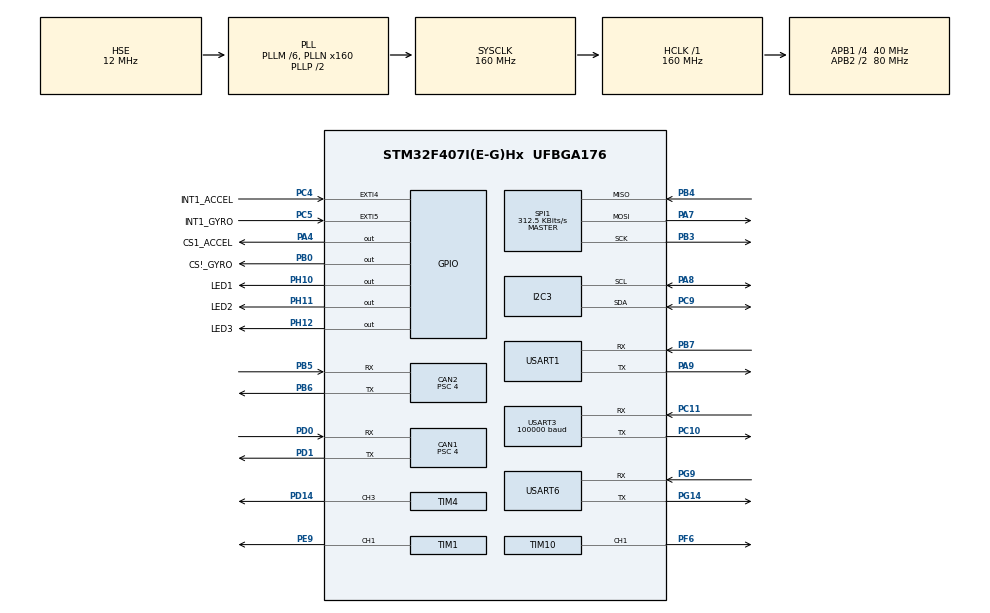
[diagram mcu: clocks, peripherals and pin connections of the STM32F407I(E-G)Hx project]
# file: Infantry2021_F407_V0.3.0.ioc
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CAN1.BS1=CAN_BS1_6TQ
CAN1.BS2=CAN_BS2_3TQ
CAN1.CalculateBaudRate=1000000
CAN1.CalculateTimeBit=1000.00
CAN1.CalculateTimeQuantum=100.0
CAN1.Prescaler=4
CAN1.SJW=CAN_SJW_2TQ
CAN2.BS1=CAN_BS1_6TQ
CAN2.BS2=CAN_BS2_3TQ
CAN2.CalculateBaudRate=1000000
CAN2.CalculateTimeBit=1000.00
CAN2.CalculateTimeQuantum=100.0
CAN2.Prescaler=4
CAN2.SJW=CAN_SJW_2TQ
Dma.Request0=USART3_RX
Dma.Request1=USART6_RX
Dma.Request2=USART6_TX
Dma.USART3_RX.0.Direction=DMA_PERIPH_TO_MEMORY
Dma.USART3_RX.0.FIFOMode=DMA_FIFOMODE_DISABLE
Dma.USART3_RX.0.Instance=DMA1_Stream1
Dma.USART3_RX.0.MemDataAlignment=DMA_MDATAALIGN_BYTE
Dma.USART3_RX.0.MemInc=DMA_MINC_ENABLE
Dma.USART3_RX.0.Mode=DMA_NORMAL
Dma.USART3_RX.0.PeriphDataAlignment=DMA_PDATAALIGN_BYTE
Dma.USART3_RX.0.PeriphInc=DMA_PINC_DISABLE
Dma.USART3_RX.0.Priority=DMA_PRIORITY_VERY_HIGH
Dma.USART6_RX.1.Direction=DMA_PERIPH_TO_MEMORY
Dma.USART6_RX.1.FIFOMode=DMA_FIFOMODE_DISABLE
Dma.USART6_RX.1.Instance=DMA2_Stream1
Dma.USART6_RX.1.MemDataAlignment=DMA_MDATAALIGN_BYTE
Dma.USART6_RX.1.MemInc=DMA_MINC_ENABLE
Dma.USART6_RX.1.Mode=DMA_NORMAL
Dma.USART6_RX.1.PeriphDataAlignment=DMA_PDATAALIGN_BYTE
Dma.USART6_RX.1.PeriphInc=DMA_PINC_DISABLE
Dma.USART6_RX.1.Priority=DMA_PRIORITY_HIGH
Dma.USART6_TX.2.Direction=DMA_MEMORY_TO_PERIPH
Dma.USART6_TX.2.FIFOMode=DMA_FIFOMODE_DISABLE
Dma.USART6_TX.2.Instance=DMA2_Stream6
Dma.USART6_TX.2.MemDataAlignment=DMA_MDATAALIGN_BYTE
Dma.USART6_TX.2.MemInc=DMA_MINC_ENABLE
Dma.USART6_TX.2.Mode=DMA_NORMAL
Dma.USART6_TX.2.PeriphDataAlignment=DMA_PDATAALIGN_BYTE
Dma.USART6_TX.2.PeriphInc=DMA_PINC_DISABLE
Dma.USART6_TX.2.Priority=DMA_PRIORITY_MEDIUM
FREERTOS.Tasks01=defaultTask,24,128,StartDefaultTask,Default,NULL,Dynamic,NULL,NULL;ImuTask,24,128,StartImuTask,Default,NULL,Dynamic,NULL,NULL;ShootTask,24,128,StartShootTask,Default,NULL,Dynamic,NULL,NULL;ChassisTask,24,128,StartChassisTask,Default,NULL,Dynamic,NULL,NULL;GimbalTask,41,128,StartGimbalTask,Default,NULL,Dynamic,NULL,NULL;RobotCMDTask,40,128,StartRobotCMDTask,Default,NULL,Dynamic,NULL,NULL;RefereeTask,24,128,StartRefereeTask,Default,NULL,Dynamic,NULL,NULL
FREERTOS.Timers01=LED_Timer,LedTimer,osTimerPeriodic,Default,NULL,Dynamic,NULL;Supervise_Timer,SuperviseTimer,osTimerPeriodic,Default,NULL,Dynamic,NULL
I2C3.I2C_Mode=I2C_Fast
Mcu.Family=STM32F4
Mcu.Name=STM32F407I(E-G)Hx
Mcu.Package=UFBGA176
NVIC.CAN1_RX0_IRQn=true\:5\:0\:false\:false\:true\:true\:true\:true
NVIC.CAN1_RX1_IRQn=true\:5\:0\:false\:false\:true\:true\:true\:true
NVIC.CAN2_RX0_IRQn=true\:5\:0\:false\:false\:true\:true\:true\:true
NVIC.CAN2_RX1_IRQn=true\:5\:0\:false\:false\:true\:true\:true\:true
NVIC.DMA1_Stream1_IRQn=true\:5\:0\:false\:false\:true\:true\:false\:true
NVIC.DMA2_Stream1_IRQn=true\:5\:0\:false\:false\:true\:true\:false\:true
NVIC.DMA2_Stream6_IRQn=true\:5\:0\:false\:false\:true\:true\:false\:true
NVIC.I2C3_EV_IRQn=true\:5\:0\:false\:false\:true\:true\:true\:true
NVIC.PriorityGroup=NVIC_PRIORITYGROUP_4
NVIC.SPI1_IRQn=true\:5\:0\:false\:false\:true\:true\:true\:true
NVIC.TIM7_IRQn=true\:0\:0\:false\:false\:true\:false\:false\:true
NVIC.TimeBase=TIM7_IRQn
NVIC.TimeBaseIP=TIM7
NVIC.USART1_IRQn=true\:5\:0\:false\:false\:true\:true\:true\:true
NVIC.USART3_IRQn=true\:5\:0\:false\:false\:true\:true\:true\:true
NVIC.USART6_IRQn=true\:5\:0\:false\:false\:true\:true\:true\:true
PA13.Mode=Serial_Wire
PA13.Signal=SYS_JTMS-SWDIO
PA14.Mode=Serial_Wire
PA14.Signal=SYS_JTCK-SWCLK
PA4.GPIO_Label=CS1_ACCEL
PA4.GPIO_PuPd=GPIO_PULLUP
PA4.GPIO_Speed=GPIO_SPEED_FREQ_HIGH
PA4.PinState=GPIO_PIN_SET
PA4.Signal=GPIO_Output
PA7.Mode=Full_Duplex_Master
PA7.Signal=SPI1_MOSI
PA8.Mode=I2C
PA8.Signal=I2C3_SCL
PA9.Mode=Asynchronous
PA9.Signal=USART1_TX
PB0.GPIO_Label=CS\!_GYRO
PB0.GPIO_PuPd=GPIO_PULLUP
PB0.GPIO_Speed=GPIO_SPEED_FREQ_HIGH
PB0.PinState=GPIO_PIN_SET
PB0.Signal=GPIO_Output
PB3.Mode=Full_Duplex_Master
PB3.Signal=SPI1_SCK
PB4.Mode=Full_Duplex_Master
PB4.Signal=SPI1_MISO
PB5.Mode=CAN_Activate
PB5.Signal=CAN2_RX
PB6.Mode=CAN_Activate
PB6.Signal=CAN2_TX
PB7.Mode=Asynchronous
PB7.Signal=USART1_RX
PC10.Mode=Asynchronous
PC10.Signal=USART3_TX
PC11.Mode=Asynchronous
PC11.Signal=USART3_RX
PC4.GPIO_Label=INT1_ACCEL
PC4.GPIO_PuPd=GPIO_PULLUP
PC4.Signal=GPXTI4
PC5.GPIO_Label=INT1_GYRO
PC5.GPIO_PuPd=GPIO_PULLUP
PC5.Signal=GPXTI5
PC9.Mode=I2C
PC9.Signal=I2C3_SDA
PD0.Mode=CAN_Activate
PD0.Signal=CAN1_RX
PD1.Mode=CAN_Activate
PD1.Signal=CAN1_TX
PD14.Signal=S_TIM4_CH3
PE9.Signal=S_TIM1_CH1
PF6.Signal=S_TIM10_CH1
PG14.Mode=Asynchronous
PG14.Signal=USART6_TX
PG9.Mode=Asynchronous
PG9.Signal=USART6_RX
PH0-OSC_IN.Mode=HSE-External-Oscillator
PH0-OSC_IN.Signal=RCC_OSC_IN
PH1-OSC_OUT.Mode=HSE-External-Oscillator
PH1-OSC_OUT.Signal=RCC_OSC_OUT
PH10.GPIO_Label=LED1
PH10.Signal=GPIO_Output
PH11.GPIO_Label=LED2
PH11.Signal=GPIO_Output
PH12.GPIO_Label=LED3
PH12.Signal=GPIO_Output
ProjectManager.HeapSize=0x1500
ProjectManager.StackSize=0x2A00
ProjectManager.TargetToolchain=MDK-ARM V5.27
RCC.48MHZClocksFreq_Value=80000000
RCC.AHBFreq_Value=160000000
RCC.APB1CLKDivider=RCC_HCLK_DIV4
RCC.APB1Freq_Value=40000000
RCC.APB1TimFreq_Value=80000000
RCC.APB2CLKDivider=RCC_HCLK_DIV2
RCC.APB2Freq_Value=80000000
RCC.APB2TimFreq_Value=160000000
RCC.CortexFreq_Value=160000000
RCC.HCLKFreq_Value=160000000
RCC.HSE_VALUE=12000000
RCC.HSI_VALUE=16000000
RCC.LSE_VALUE=32768
RCC.PLLM=6
RCC.PLLN=160
RCC.PLLSourceVirtual=RCC_PLLSOURCE_HSE
RCC.SYSCLKFreq_VALUE=160000000
RCC.SYSCLKSource=RCC_SYSCLKSOURCE_PLLCLK
RCC.VCOOutputFreq_Value=320000000
SH.S_TIM10_CH1.0=TIM10_CH1,PWM Generation1 CH1
SH.S_TIM1_CH1.0=TIM1_CH1,PWM Generation1 CH1
SH.S_TIM4_CH3.0=TIM4_CH3,PWM Generation3 CH3
SPI1.BaudRatePrescaler=SPI_BAUDRATEPRESCALER_256
SPI1.CLKPhase=SPI_PHASE_2EDGE
SPI1.CLKPolarity=SPI_POLARITY_HIGH
SPI1.CalculateBaudRate=312.5 KBits/s
SPI1.Direction=SPI_DIRECTION_2LINES
SPI1.Mode=SPI_MODE_MASTER
SPI1.VirtualType=VM_MASTER
TIM1.Channel-PWM\ Generation1\ CH1=TIM_CHANNEL_1
TIM1.Period=20000-1
TIM1.Prescaler=160-1
TIM10.Channel=TIM_CHANNEL_1
TIM10.Period=1000-1
TIM10.Prescaler=160-1
TIM14.AutoReloadPreload=TIM_AUTORELOAD_PRELOAD_ENABLE
TIM14.Period=65535
TIM14.Prescaler=80-1
TIM4.Channel-PWM\ Generation3\ CH3=TIM_CHANNEL_3
TIM4.Period=65535
TIM4.Prescaler=80-1
USART1.VirtualMode=VM_ASYNC
USART3.BaudRate=100000
USART3.Parity=PARITY_EVEN
USART3.StopBits=STOPBITS_2
USART3.VirtualMode=VM_ASYNC
USART3.WordLength=WORDLENGTH_9B
USART6.VirtualMode=VM_ASYNC
VP_CRC_VS_CRC.Mode=CRC_Activate
VP_FREERTOS_VS_CMSIS_V2.Mode=CMSIS_V2
VP_SYS_VS_tim7.Mode=TIM7
VP_TIM10_VS_ClockSourceINT.Mode=Enable_Timer
VP_TIM14_VS_ClockSourceINT.Mode=Enable_Timer
board=custom

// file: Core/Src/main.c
/* USER CODE BEGIN Header */
/**
  ******************************************************************************
  * @file           : main.c
  * @brief          : Main program body
  ******************************************************************************
  * @attention
  *
  * <h2><center>&copy; Copyright (c) 2021 STMicroelectronics.
  * All rights reserved.</center></h2>
  *
  * This software component is licensed by ST under Ultimate Liberty license
  * SLA0044, the "License"; You may not use this file except in compliance with
  * the License. You may obtain a copy of the License at:
  *                             www.st.com/SLA0044
  *
  ******************************************************************************
  */
/* USER CODE END Header */
#include "main.h"
#include "cmsis_os.h"
#include "can.h"
#include "crc.h"
#include "dma.h"
#include "i2c.h"
#include "spi.h"
#include "tim.h"
#include "usart.h"
#include "gpio.h"

/* USER CODE BEGIN Includes */
#include "remote.h"
#include "AttitudeResolve.h"
#include "bsp_can.h"
#include "pc_communicate.h"
/* USER CODE END Includes */

/* USER CODE BEGIN PV */
extern struct IMU_t bmi088;
/* USER CODE END PV */

void SystemClock_Config(void);
void MX_FREERTOS_Init(void);

int main(void)
{

  /* MCU Configuration--------------------------------------------------------*/

  /* Reset of all peripherals, Initializes the Flash interface and the Systick. */
  HAL_Init();

  /* Configure the system clock */
  SystemClock_Config();

  /* Initialize all configured peripherals */
  MX_GPIO_Init();
  MX_DMA_Init();
  MX_CAN1_Init();
  MX_CAN2_Init();
  MX_TIM1_Init();
  MX_TIM4_Init();
  MX_TIM10_Init();
  MX_I2C3_Init();
  MX_SPI1_Init();
  MX_USART1_UART_Init();
  MX_USART3_UART_Init();
  MX_USART6_UART_Init();
  MX_CRC_Init();
  MX_TIM14_Init();
  /* USER CODE BEGIN 2 */
	Remote_init();
	IMU_init(&bmi088);
	CanFilterInit(&hcan1);
	CanFilterInit(&hcan2);
	TIM1->CCR1 = 1500;
	HAL_TIM_PWM_Start(&htim1, TIM_CHANNEL_1);
	HAL_TIM_PWM_Start(&htim4, TIM_CHANNEL_3);
	HAL_TIM_PWM_Start(&htim10, TIM_CHANNEL_1);
	HAL_GPIO_WritePin(GPIOH, GPIO_PIN_10, GPIO_PIN_RESET);
	HAL_GPIO_WritePin(GPIOH, GPIO_PIN_11, GPIO_PIN_RESET);
	HAL_GPIO_WritePin(GPIOH, GPIO_PIN_12, GPIO_PIN_RESET);
	PC_communicate_init();
  /* USER CODE END 2 */

  /* Init scheduler */
  osKernelInitialize();  /* Call init function for freertos objects (in freertos.c) */
  MX_FREERTOS_Init();
  /* Start scheduler */
  osKernelStart();

  /* We should never get here as control is now taken by the scheduler */
  /* Infinite loop */
  while (1)
  {

  }
}

void SystemClock_Config(void)
{
  RCC_OscInitTypeDef RCC_OscInitStruct = {0};
  RCC_ClkInitTypeDef RCC_ClkInitStruct = {0};

  /** Configure the main internal regulator output voltage
  */
  __HAL_RCC_PWR_CLK_ENABLE();
  __HAL_PWR_VOLTAGESCALING_CONFIG(PWR_REGULATOR_VOLTAGE_SCALE1);
  /** Initializes the RCC Oscillators according to the specified parameters
  * in the RCC_OscInitTypeDef structure.
  */
  RCC_OscInitStruct.OscillatorType = RCC_OSCILLATORTYPE_HSE;
  RCC_OscInitStruct.HSEState = RCC_HSE_ON;
  RCC_OscInitStruct.PLL.PLLState = RCC_PLL_ON;
  RCC_OscInitStruct.PLL.PLLSource = RCC_PLLSOURCE_HSE;
  RCC_OscInitStruct.PLL.PLLM = 6;
  RCC_OscInitStruct.PLL.PLLN = 160;
  RCC_OscInitStruct.PLL.PLLP = RCC_PLLP_DIV2;
  RCC_OscInitStruct.PLL.PLLQ = 4;
  if (HAL_RCC_OscConfig(&RCC_OscInitStruct) != HAL_OK)
  {
    Error_Handler();
  }
  /** Initializes the CPU, AHB and APB buses clocks
  */
  RCC_ClkInitStruct.ClockType = RCC_CLOCKTYPE_HCLK|RCC_CLOCKTYPE_SYSCLK
                              |RCC_CLOCKTYPE_PCLK1|RCC_CLOCKTYPE_PCLK2;
  RCC_ClkInitStruct.SYSCLKSource = RCC_SYSCLKSOURCE_PLLCLK;
  RCC_ClkInitStruct.AHBCLKDivider = RCC_SYSCLK_DIV1;
  RCC_ClkInitStruct.APB1CLKDivider = RCC_HCLK_DIV4;
  RCC_ClkInitStruct.APB2CLKDivider = RCC_HCLK_DIV2;

  if (HAL_RCC_ClockConfig(&RCC_ClkInitStruct, FLASH_LATENCY_5) != HAL_OK)
  {
    Error_Handler();
  }
}

 /**
  * @brief  Period elapsed callback in non blocking mode
  * @note   This function is called  when TIM7 interrupt took place, inside
  * HAL_TIM_IRQHandler(). It makes a direct call to HAL_IncTick() to increment
  * a global variable "uwTick" used as application time base.
  * @param  htim : TIM handle
  * @retval None
  */
void HAL_TIM_PeriodElapsedCallback(TIM_HandleTypeDef *htim)
{
  if (htim->Instance == TIM7) {
    HAL_IncTick();
  }
}

void Error_Handler(void)
{
  __disable_irq();
  while (1)
  {
  }
}

/************************ (C) COPYRIGHT STMicroelectronics *****END OF FILE****/

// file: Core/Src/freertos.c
/* USER CODE BEGIN Header */
/**
  ******************************************************************************
  * File Name          : freertos.c
  * Description        : Code for freertos applications
  ******************************************************************************
  * @attention
  *
  * <h2><center>&copy; Copyright (c) 2021 STMicroelectronics.
  * All rights reserved.</center></h2>
  *
  * This software component is licensed by ST under Ultimate Liberty license
  * SLA0044, the "License"; You may not use this file except in compliance with
  * the License. You may obtain a copy of the License at:
  *                             www.st.com/SLA0044
  *
  ******************************************************************************
  */
/* USER CODE END Header */

#include "FreeRTOS.h"
#include "task.h"
#include "main.h"
#include "cmsis_os.h"

/* USER CODE BEGIN Includes */
#include "beep.h"
#include "supervise.h"
#include "BMI088driver.h"
#include "AttitudeResolve.h"
#include "referee.h"
#include "fifo.h"
#include "robot.h"
#include "chassis.h"
#include "gimbal.h"
#include "shoot.h"
/* USER CODE END Includes */

/* USER CODE BEGIN Variables */
extern struct IMU_t bmi088;
extern fifo_s_t referee_fifo;
extern uint8_t referee_fifo_buf[REFEREE_FIFO_BUF_LENGTH];
/* USER CODE END Variables */
/* Definitions for defaultTask */
osThreadId_t defaultTaskHandle;
const osThreadAttr_t defaultTask_attributes = {
  .name = "defaultTask",
  .priority = (osPriority_t) osPriorityNormal,
  .stack_size = 128 * 4
};
/* Definitions for ImuTask */
osThreadId_t ImuTaskHandle;
const osThreadAttr_t ImuTask_attributes = {
  .name = "ImuTask",
  .priority = (osPriority_t) osPriorityNormal,
  .stack_size = 128 * 4
};
/* Definitions for ShootTask */
osThreadId_t ShootTaskHandle;
const osThreadAttr_t ShootTask_attributes = {
  .name = "ShootTask",
  .priority = (osPriority_t) osPriorityNormal,
  .stack_size = 128 * 4
};
/* Definitions for ChassisTask */
osThreadId_t ChassisTaskHandle;
const osThreadAttr_t ChassisTask_attributes = {
  .name = "ChassisTask",
  .priority = (osPriority_t) osPriorityNormal,
  .stack_size = 128 * 4
};
/* Definitions for GimbalTask */
osThreadId_t GimbalTaskHandle;
const osThreadAttr_t GimbalTask_attributes = {
  .name = "GimbalTask",
  .priority = (osPriority_t) osPriorityHigh1,
  .stack_size = 128 * 4
};
/* Definitions for RobotCMDTask */
osThreadId_t RobotCMDTaskHandle;
const osThreadAttr_t RobotCMDTask_attributes = {
  .name = "RobotCMDTask",
  .priority = (osPriority_t) osPriorityHigh,
  .stack_size = 128 * 4
};
/* Definitions for RefereeTask */
osThreadId_t RefereeTaskHandle;
const osThreadAttr_t RefereeTask_attributes = {
  .name = "RefereeTask",
  .priority = (osPriority_t) osPriorityNormal,
  .stack_size = 128 * 4
};
/* Definitions for LED_Timer */
osTimerId_t LED_TimerHandle;
const osTimerAttr_t LED_Timer_attributes = {
  .name = "LED_Timer"
};
/* Definitions for Supervise_Timer */
osTimerId_t Supervise_TimerHandle;
const osTimerAttr_t Supervise_Timer_attributes = {
  .name = "Supervise_Timer"
};

void StartDefaultTask(void *argument);
void StartImuTask(void *argument);
void StartShootTask(void *argument);
void StartChassisTask(void *argument);
void StartGimbalTask(void *argument);
void StartRobotCMDTask(void *argument);
void StartRefereeTask(void *argument);
void LedTimer(void *argument);
void SuperviseTimer(void *argument);

void MX_FREERTOS_Init(void); /* (MISRA C 2004 rule 8.1) */

void MX_FREERTOS_Init(void) {

  /* Create the timer(s) */
  /* creation of LED_Timer */
  LED_TimerHandle = osTimerNew(LedTimer, osTimerPeriodic, NULL, &LED_Timer_attributes);

  /* creation of Supervise_Timer */
  Supervise_TimerHandle = osTimerNew(SuperviseTimer, osTimerPeriodic, NULL, &Supervise_Timer_attributes);

  /* USER CODE BEGIN RTOS_TIMERS */
  /* start timers, add new ones, ... */
	osTimerStart(LED_TimerHandle, 200);
	osTimerStart(Supervise_TimerHandle, 2);
  /* USER CODE END RTOS_TIMERS */

  /* Create the thread(s) */
  /* creation of defaultTask */
  defaultTaskHandle = osThreadNew(StartDefaultTask, NULL, &defaultTask_attributes);

  /* creation of ImuTask */
  ImuTaskHandle = osThreadNew(StartImuTask, NULL, &ImuTask_attributes);

  /* creation of ShootTask */
  ShootTaskHandle = osThreadNew(StartShootTask, NULL, &ShootTask_attributes);

  /* creation of ChassisTask */
  ChassisTaskHandle = osThreadNew(StartChassisTask, NULL, &ChassisTask_attributes);

  /* creation of GimbalTask */
  GimbalTaskHandle = osThreadNew(StartGimbalTask, NULL, &GimbalTask_attributes);

  /* creation of RobotCMDTask */
  RobotCMDTaskHandle = osThreadNew(StartRobotCMDTask, NULL, &RobotCMDTask_attributes);

  /* creation of RefereeTask */
  RefereeTaskHandle = osThreadNew(StartRefereeTask, NULL, &RefereeTask_attributes);

}

void StartDefaultTask(void *argument)
{
  /* USER CODE BEGIN StartDefaultTask */
  /* Infinite loop */
  for(;;)
  {
		if(bmi088.accBiasFound)
		{
			Beep();
		}
    osDelay(30);
  }
  /* USER CODE END StartDefaultTask */
}

void StartImuTask(void *argument)
{
  /* USER CODE BEGIN StartImuTask */
  while(BMI088_init()){}
  /* Infinite loop */
  for(;;)
  {
		imuDataHandle(&bmi088);				//BMI088数据解算
		LostCounterFeed(GYRO_INDEX);
		osDelay(1);
  }
  /* USER CODE END StartImuTask */
}

void StartShootTask(void *argument)
{
  /* USER CODE BEGIN StartShootTask */
  /* Infinite loop */
  for(;;)
  {
		ShootParamChange();
    osDelay(2);
  }
  /* USER CODE END StartShootTask */
}

void StartChassisTask(void *argument)
{
  /* USER CODE BEGIN StartChassisTask */
  /* Infinite loop */
  for(;;)
  {
	  ChassisParamChange();
		osDelay(2);
  }
  /* USER CODE END StartChassisTask */
}

void StartGimbalTask(void *argument)
{
  /* USER CODE BEGIN StartGimbalTask */
  /* Infinite loop */
  for(;;)
  {
//		taskENTER_CRITICAL();
		GimbalParamChange();
//		taskEXIT_CRITICAL();
    osDelay(2);
  }
  /* USER CODE END StartGimbalTask */
}

void StartRobotCMDTask(void *argument)
{
  /* USER CODE BEGIN StartRobotCMDTask */
	RobotParamInit();
  /* Infinite loop */
  for(;;)
  {
		RobotStateChange();
    osDelay(1);
  }
  /* USER CODE END StartRobotCMDTask */
}

void StartRefereeTask(void *argument)
{
  /* USER CODE BEGIN StartRefereeTask */
	Referee_Data_Init();
	fifo_s_init(&referee_fifo, referee_fifo_buf, REFEREE_FIFO_BUF_LENGTH);
	USART6_Init();
  /* Infinite loop */
  for(;;)
  {
		Referee_Unpack_FIFO_Data();
    osDelay(3);
  }
  /* USER CODE END StartRefereeTask */
}

/* LedTimer function */
void LedTimer(void *argument)
{
  /* USER CODE BEGIN LedTimer */
	static int LED_cnt = 0;
	switch(LED_cnt)
	{
		case 0:
			HAL_GPIO_TogglePin(GPIOH, GPIO_PIN_10);
			break;
		case 1:
			HAL_GPIO_TogglePin(GPIOH, GPIO_PIN_11);
			break;
		case 2:
			HAL_GPIO_TogglePin(GPIOH, GPIO_PIN_12);
			break;
	}
	if(LED_cnt == 2)
		LED_cnt = 0;
	else
		LED_cnt ++;
  /* USER CODE END LedTimer */
}

/* SuperviseTimer function */
void SuperviseTimer(void *argument)
{
  /* USER CODE BEGIN SuperviseTimer */
	SuperviseTaskHandle();
  /* USER CODE END SuperviseTimer */
}

/************************ (C) COPYRIGHT STMicroelectronics *****END OF FILE****/
